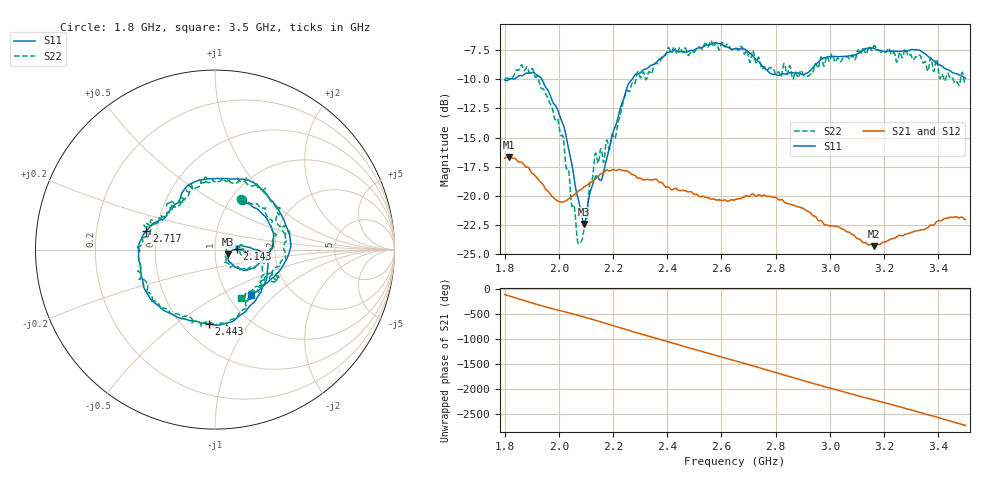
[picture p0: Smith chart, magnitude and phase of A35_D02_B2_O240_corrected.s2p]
! Created with skrf 1.9.0 (http://scikit-rf.org).
# Hz S RI R 50.0
!freq ReS11 ImS11 ReS21 ImS21 ReS12 ImS12 ReS22 ImS22
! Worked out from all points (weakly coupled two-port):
!   1601 points, 1.8 GHz to 3.5 GHz, reference 50 ohm
!   highest |S21| = -16.66 dB at 1.815 GHz (marker M1); lowest = -24.3 dB at 3.163 GHz (marker M2)
!   lowest |S11| = -22.4 dB at 2.093 GHz (marker M3), VSWR 1.16, Z = 57.6 - j3.04 ohm
!   |S11| at or under -10 dB: start of sweep to 1.817 GHz; 1.937 GHz to 2.271 GHz (333.4 MHz wide, 15.8 % of centre)
!   |S22| runs from -24.1 to -6.7 dB; largest |S21 - S12| = 0.0025
!   S11 on the Smith chart (normalised r, x): 1.8 GHz: 1.13, +0.69; 2.143 GHz: 1.28, +0.00; 2.443 GHz: 0.67, -0.67; 2.717 GHz: 0.44, +0.11; 3.5 GHz: 1.27, -0.71
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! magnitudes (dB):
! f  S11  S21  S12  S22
! 1.8 GHz  -10.0  -16.8  -16.8  -10.0
! 1.815 GHz  -10.0  -16.7  -16.7  -10.0
! 1.902 GHz  -9.4  -18.0  -18.0  -9.1
! 1.967 GHz  -11.3  -19.8  -19.8  -12.0
! 2.021 GHz  -14.2  -20.5  -20.5  -16.1
! 2.07 GHz  -20.1  -19.6  -19.6  -24.0
! 2.084 GHz  -21.6  -19.4  -19.4  -23.8
! 2.093 GHz  -22.4  -19.2  -19.3  -22.8
! 2.129 GHz  -18.7  -18.6  -18.6  -17.3
! 2.143 GHz  -18.3  -18.4  -18.3  -17.1
! 2.161 GHz  -18.3  -18.0  -18.0  -16.7
! 2.209 GHz  -14.0  -17.8  -17.7  -15.0
! 2.258 GHz  -10.4  -17.9  -17.9  -11.0
! 2.367 GHz  -8.3  -18.7  -18.7  -8.6
! 2.443 GHz  -7.6  -19.5  -19.5  -7.4
! 2.65 GHz  -7.4  -20.3  -20.3  -7.4
! 2.717 GHz  -8.0  -19.8  -19.8  -7.6
! 2.789 GHz  -9.6  -20.1  -20.1  -9.0
! 2.934 GHz  -9.1  -21.6  -21.6  -9.5
! 3.163 GHz  -7.4  -24.3  -24.3  -7.1
! 3.217 GHz  -7.6  -23.8  -23.8  -7.3
! 3.5 GHz  -9.9  -22.0  -22.0  -10.3
